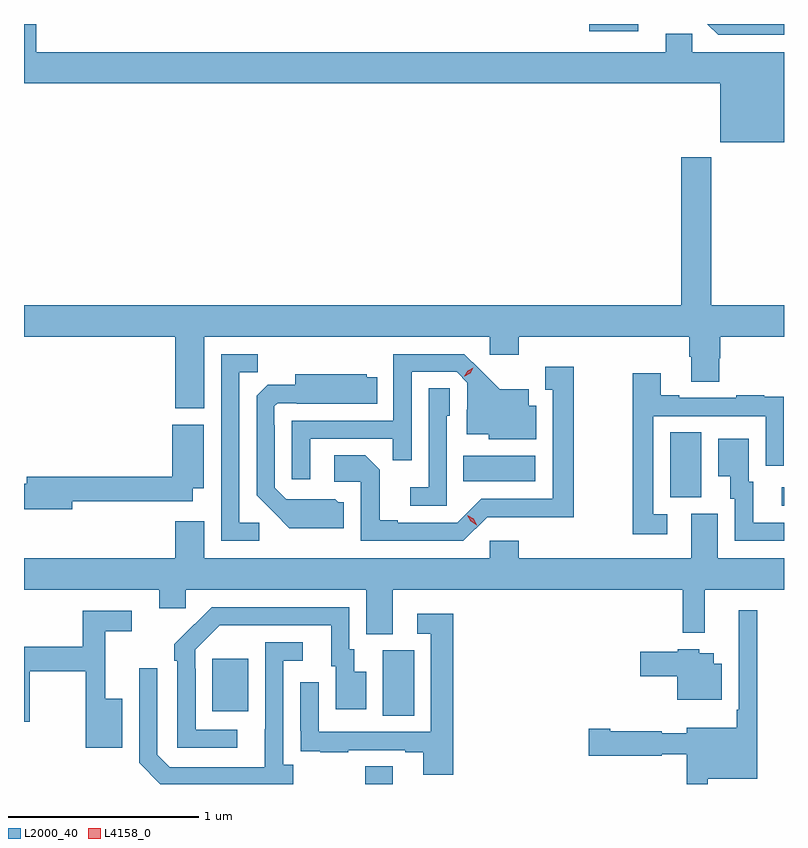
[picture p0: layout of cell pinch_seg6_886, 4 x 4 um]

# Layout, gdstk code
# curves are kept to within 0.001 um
import gdstk
lib = gdstk.Library(unit=1e-6, precision=1e-09)
def R(c, l, rs):  # rectangles x0, y0, x1, y1
    for r in rs: c.add(gdstk.rectangle(r[:2], r[2:], *l))
def P(c, l, *ps):  # polygons
    for p in ps: c.add(gdstk.Polygon(p, *l))
L2000_40 = (2000, 40)
L4158_0 = (4158, 0)

pinch_seg6_886 = lib.new_cell('pinch_seg6_886')
R(pinch_seg6_886, L2000_40, [(329.326,932.993,329.473,933.086), (329.42,933.352,329.584,933.696), (328.523,933.377,328.711,933.652), (331.518,934.458,331.531,934.554), (330.932,934.501,331.096,934.844), (329.842,934.586,330.223,934.72), (330.505,936.954,330.763,936.993)])
P(pinch_seg6_886, L2000_40, [(331.531,936.844),(331.047,936.844),(331.047,936.942),(330.908,936.942),(330.908,936.844),(327.596,936.844),(327.596,936.993),(327.531,936.993),(327.531,936.68),(331.196,936.68),(331.196,936.371),(331.531,936.371)],
  [(331.531,936.993),(331.127,936.993),(331.184,936.936),(331.531,936.936)],
  [(328.48,935.348),(329.982,935.348),(329.982,935.253),(330.134,935.253),(330.134,935.348),(331.031,935.348),(331.031,935.242),(331.043,935.242),(331.043,935.11),(331.191,935.11),(331.191,935.235),(331.196,935.235),(331.196,935.348),(331.531,935.348),(331.531,935.512),(331.149,935.512),(331.149,936.292),(330.989,936.292),(330.989,935.512),(327.531,935.512),(327.531,935.348),(328.328,935.348),(328.328,934.97),(328.48,934.97)],
  [(328.768,934.368),(328.665,934.368),(328.665,935.161),(328.761,935.161),(328.761,935.256),(328.569,935.256),(328.569,934.272),(328.768,934.272)],
  [(329.037,934.809),(329.473,934.809),(329.473,934.696),(329.571,934.696),(329.571,935.163),(329.808,935.163),(329.865,935.106),(329.865,934.964),(329.861,934.964),(329.861,934.835),(329.976,934.835),(329.976,934.808),(330.226,934.808),(330.226,934.984),(330.187,934.984),(330.187,935.071),(330.035,935.071),(329.848,935.256),(329.475,935.256),(329.475,934.905),(328.941,934.905),(328.941,934.596),(329.037,934.596)],
  [(329.97,934.398),(330.425,934.397),(330.425,935.188),(330.275,935.188),(330.275,935.067),(330.314,935.067),(330.314,934.494),(329.937,934.494),(329.811,934.368),(329.497,934.368),(329.497,934.381),(329.403,934.381),(329.403,934.648),(329.327,934.724),(329.163,934.724),(329.163,934.584),(329.304,934.584),(329.304,934.272),(329.844,934.272)],
  [(330.916,934.413),(330.843,934.413),(330.843,934.929),(331.434,934.929),(331.434,934.668),(331.53,934.668),(331.53,934.922),(331.529,934.922),(331.529,935.031),(331.427,935.031),(331.427,935.038),(331.279,935.038),(331.279,935.025),(330.979,935.025),(330.979,935.038),(330.883,935.038),(330.883,935.155),(330.735,935.155),(330.735,934.308),(330.916,934.308)],
  [(329.215,934.476),(329.184,934.476),(329.168,934.492),(328.911,934.491),(328.851,934.551),(328.851,934.88),(328.848,934.88),(328.848,934.98),(328.866,934.998),(328.966,934.998),(328.966,934.994),(329.39,934.994),(329.39,935.134),(329.334,935.134),(329.334,935.149),(328.958,935.149),(328.958,935.095),(328.814,935.095),(328.755,935.036),(328.755,934.514),(328.927,934.34),(329.215,934.34)],
  [(329.757,934.932),(329.772,934.932),(329.772,935.075),(329.661,935.075),(329.661,934.555),(329.565,934.555),(329.565,934.458),(329.757,934.458)],
  [(327.784,934.482),(328.42,934.482),(328.42,934.55),(328.477,934.55),(328.477,934.885),(328.31,934.885),(328.31,934.61),(327.545,934.61),(327.545,934.574),(327.531,934.574),(327.531,934.439),(327.784,934.439)],
  [(331.531,934.368),(331.369,934.368),(331.369,934.584),(331.345,934.584),(331.345,934.81),(331.184,934.81),(331.184,934.613),(331.247,934.613),(331.247,934.494),(331.272,934.494),(331.272,934.272),(331.531,934.272)],
  [(329.473,934.016),(330.997,934.016),(330.997,933.788),(331.115,933.788),(331.115,934.016),(331.531,934.016),(331.531,934.18),(331.183,934.18),(331.183,934.416),(331.043,934.416),(331.043,934.18),(330.134,934.18),(330.134,934.273),(329.982,934.273),(329.982,934.18),(328.48,934.18),(328.48,934.375),(328.328,934.375),(328.328,934.18),(327.531,934.18),(327.531,934.016),(328.244,934.016),(328.244,933.918),(328.383,933.918),(328.383,934.016),(329.333,934.016),(329.333,933.781),(329.473,933.781)],
  [(328.654,933.279),(328.434,933.279),(328.434,933.599),(328.431,933.599),(328.431,933.699),(328.56,933.828),(329.147,933.828),(329.147,933.612),(329.171,933.612),(329.171,933.387),(329.332,933.387),(329.332,933.583),(329.269,933.583),(329.269,933.702),(329.244,933.702),(329.244,933.924),(328.52,933.924),(328.323,933.729),(328.323,933.641),(328.338,933.641),(328.338,933.183),(328.654,933.183)],
  [(331.129,933.02),(331.39,933.02),(331.39,933.907),(331.293,933.907),(331.293,933.385),(331.281,933.385),(331.281,933.289),(331.019,933.289),(331.019,933.259),(330.888,933.259),(330.888,933.271),(330.616,933.271),(330.616,933.284),(330.504,933.284),(330.504,933.142),(330.888,933.142),(330.888,933.15),(331.019,933.15),(331.019,932.993),(331.129,932.993)],
  [(328.048,933.442),(327.959,933.442),(327.959,933.798),(328.099,933.798),(328.099,933.906),(327.841,933.906),(327.841,933.715),(327.531,933.715),(327.531,933.321),(327.562,933.321),(327.562,933.586),(327.856,933.586),(327.856,933.185),(328.048,933.185)],
  [(329.789,933.889),(329.601,933.889),(329.601,933.783),(329.673,933.783),(329.673,933.267),(329.082,933.267),(329.082,933.529),(328.986,933.529),(328.986,933.274),(328.987,933.274),(328.987,933.165),(329.089,933.165),(329.089,933.159),(329.237,933.159),(329.237,933.171),(329.537,933.171),(329.537,933.159),(329.633,933.159),(329.633,933.042),(329.789,933.042)],
  [(328.948,933.094),(328.896,933.094),(328.896,933.642),(328.999,933.642),(328.999,933.738),(328.8,933.738),(328.799,933.081),(328.299,933.081),(328.233,933.147),(328.233,933.601),(328.137,933.601),(328.137,933.105),(328.249,932.993),(328.948,932.993)],
  [(331.204,933.625),(331.162,933.625),(331.162,933.682),(331.086,933.682),(331.086,933.703),(330.972,933.703),(330.972,933.69),(330.774,933.69),(330.774,933.56),(330.968,933.56),(330.968,933.437),(331.204,933.437)])
P(pinch_seg6_886, L4158_0, [(329.913,934.356),(329.882,934.375),(329.865,934.408),(329.865,934.408),(329.865,934.408),(329.897,934.389),(329.914,934.356),(329.914,934.356)],
  [(329.849,935.138),(329.849,935.138),(329.866,935.168),(329.896,935.184),(329.896,935.184),(329.896,935.184),(329.88,935.154),(329.85,935.138)])

lib.write_gds('pinch_seg6_886.gds')
